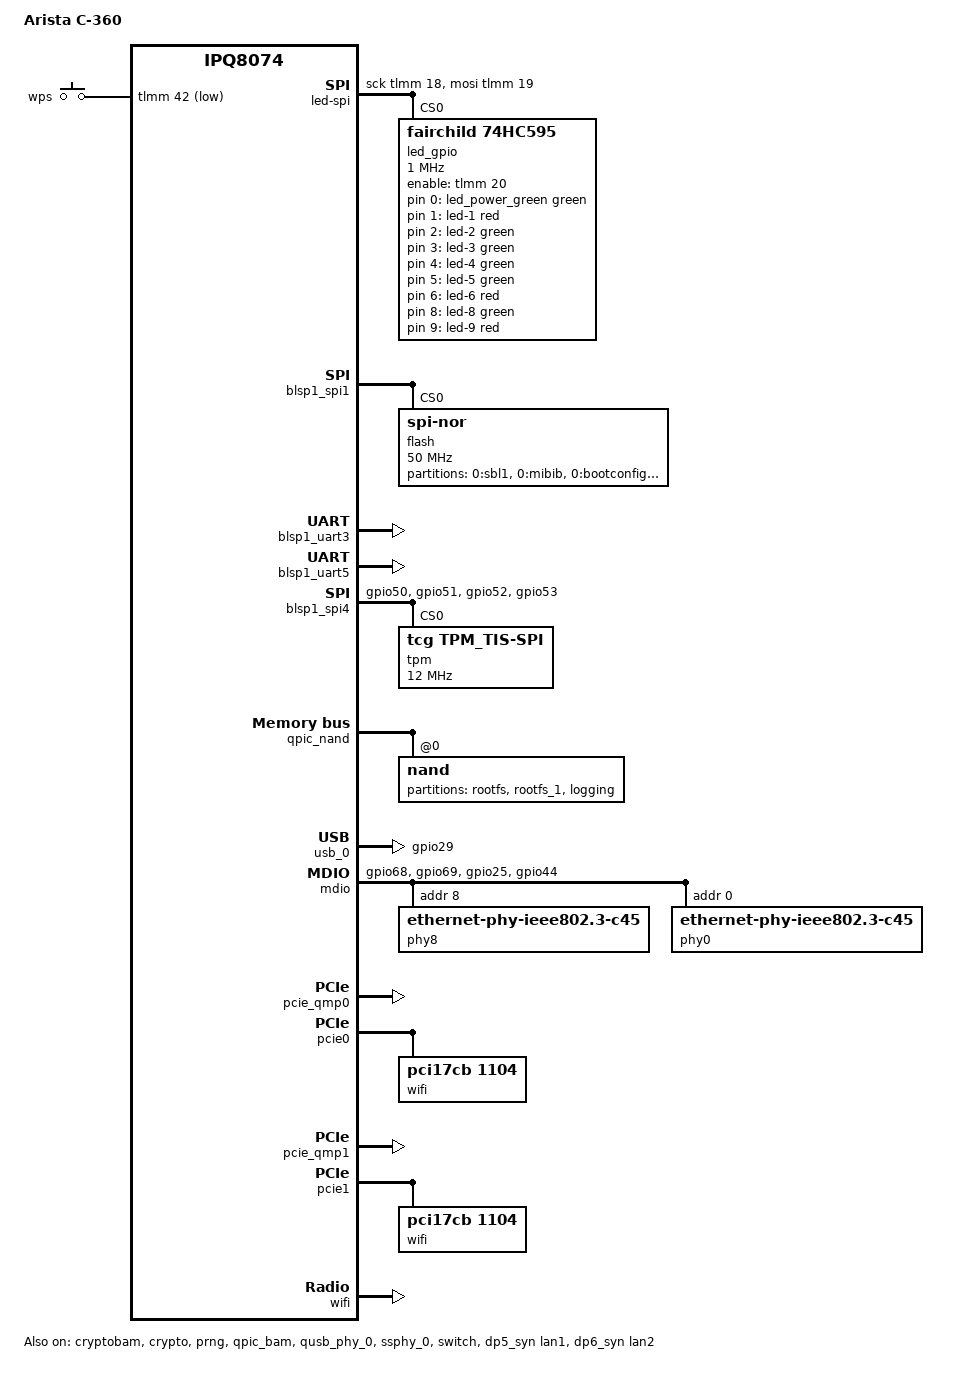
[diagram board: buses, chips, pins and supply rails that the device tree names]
// SPDX-License-Identifier: GPL-2.0-or-later OR MIT

/dts-v1/;

#include "ipq8074.dtsi"
#include "ipq8074-hk-cpu.dtsi"
#include "ipq8074-ess.dtsi"
#include <dt-bindings/gpio/gpio.h>
#include <dt-bindings/input/input.h>
#include <dt-bindings/leds/common.h>

/ {
	model = "Arista C-360";
	compatible = "arista,c-360", "qcom,ipq8074", "qcom,ipq8074-hk09";

	aliases {
		serial0 = &blsp1_uart5;
		serial1 = &blsp1_uart3;
		ethernet0 = &dp5_syn;
		ethernet1 = &dp6_syn;
		label-mac-device = &dp5_syn;
		led-boot = &led_power_green;
		led-failsafe = &led_power_green;
		led-running = &led_power_green;
		led-upgrade = &led_power_green;
	};

	chosen {
		stdout-path = "serial0:115200n8";
		bootargs-append = " root=/dev/ubiblock0_1";
	};

	keys {
		compatible = "gpio-keys";
		pinctrl-0 = <&button_pins>;
		pinctrl-names = "default";

		wps {
			label = "wps";
			gpios = <&tlmm 42 GPIO_ACTIVE_LOW>;
			linux,code = <KEY_WPS_BUTTON>;
			debounce-interval = <60>;
		};
	};

	led-spi {
		compatible = "spi-gpio";
		#address-cells = <1>;
		#size-cells = <0>;

		sck-gpios = <&tlmm 18 GPIO_ACTIVE_HIGH>;
		mosi-gpios = <&tlmm 19 GPIO_ACTIVE_HIGH>;

		led_gpio: led-gpio@0 {
			compatible = "fairchild,74hc595";
			reg = <0>;
			gpio-controller;
			#gpio-cells = <2>;
			registers-number = <2>;
			spi-max-frequency = <1000000>;
			enable-gpios = <&tlmm 20 GPIO_ACTIVE_HIGH>;
		};
	};

	/*
	 * The front panel LEDs hang off a 74LV164 shift register driven by the
	 * IPQ8074 LEDC pins, wired like the Arcadyan AW1000.  Two cascaded
	 * 8-bit registers give 16 outputs, of which nine reach an LED; the
	 * mapping was read off the panel one bit at a time.  Power, LAN1 and
	 * LAN2 are green/red pairs, the WiFi bands are green only, and outputs
	 * 7 and 10 to 15 drive nothing.
	 */
	leds {
		compatible = "gpio-leds";

		led_power_green: led-0 {
			color = <LED_COLOR_ID_GREEN>;
			function = LED_FUNCTION_POWER;
			gpios = <&led_gpio 0 GPIO_ACTIVE_HIGH>;
			default-state = "on";
		};

		led-1 {
			color = <LED_COLOR_ID_RED>;
			function = LED_FUNCTION_POWER;
			gpios = <&led_gpio 1 GPIO_ACTIVE_HIGH>;
		};

		led-2 {
			color = <LED_COLOR_ID_GREEN>;
			function = LED_FUNCTION_WLAN_2GHZ;
			gpios = <&led_gpio 2 GPIO_ACTIVE_HIGH>;
		};

		led-3 {
			color = <LED_COLOR_ID_GREEN>;
			function = LED_FUNCTION_WLAN_5GHZ;
			gpios = <&led_gpio 3 GPIO_ACTIVE_HIGH>;
		};

		led-4 {
			color = <LED_COLOR_ID_GREEN>;
			function = LED_FUNCTION_WLAN_6GHZ;
			gpios = <&led_gpio 4 GPIO_ACTIVE_HIGH>;
		};

		led-5 {
			color = <LED_COLOR_ID_GREEN>;
			function = LED_FUNCTION_LAN;
			function-enumerator = <1>;
			gpios = <&led_gpio 5 GPIO_ACTIVE_HIGH>;
		};

		led-6 {
			color = <LED_COLOR_ID_RED>;
			function = LED_FUNCTION_LAN;
			function-enumerator = <1>;
			gpios = <&led_gpio 6 GPIO_ACTIVE_HIGH>;
		};

		led-8 {
			color = <LED_COLOR_ID_GREEN>;
			function = LED_FUNCTION_LAN;
			function-enumerator = <2>;
			gpios = <&led_gpio 8 GPIO_ACTIVE_HIGH>;
		};

		led-9 {
			color = <LED_COLOR_ID_RED>;
			function = LED_FUNCTION_LAN;
			function-enumerator = <2>;
			gpios = <&led_gpio 9 GPIO_ACTIVE_HIGH>;
		};
	};
};

&tlmm {
	tpm_spi_pins: tpm-spi-state {
		pins = "gpio50", "gpio51", "gpio52", "gpio53";
		function = "blsp3_spi";
		drive-strength = <8>;
		bias-disable;
	};

	mdio_pins: mdio-pins {
		mdc {
			pins = "gpio68";
			function = "mdc";
			drive-strength = <8>;
			bias-pull-up;
		};

		mdio {
			pins = "gpio69";
			function = "mdio";
			drive-strength = <8>;
			bias-pull-up;
		};

		phy0-pins {
			pins = "gpio25";
			function = "gpio";
			drive-strength = <8>;
			bias-pull-up;
		};

		phy1-pins {
			pins = "gpio44";
			function = "gpio";
			drive-strength = <8>;
			bias-pull-up;
		};

	};

	button_pins: button-pins {
		wps-button {
			pins = "gpio42";
			function = "gpio";
			drive-strength = <8>;
			bias-pull-up;
		};
	};

	/*
	 * Enables the USB port's power rail. The vendor firmware drives this
	 * pin from its PoE handler, cutting USB when the PSE only grants
	 * 802.3at, which is what identifies it -- it was previously described
	 * here as a PHY supply.
	 */
	usb_power_pins: usb-power-pins {
		pins = "gpio29";
		function = "gpio";
		drive-strength = <8>;
		bias-pull-up;
		output-high;
	};
};

&blsp1_spi1 {
	status = "okay";

	flash@0 {
		#address-cells = <1>;
		#size-cells = <1>;
		reg = <0>;
		compatible = "jedec,spi-nor";
		spi-max-frequency = <50000000>;

		/*
		 * The SMEM partition table on this board describes both
		 * flashes: the 25 entries up to "reserved2" live on this
		 * SPI-NOR and only rootfs/rootfs_1/logging live on the NAND.
		 * One "qcom,smem-part" parser cannot express that.  Bound to
		 * the NAND it emitted the NOR entries scaled by the ratio of
		 * the erase sizes (256K/64K = 4) and laid them on top of
		 * rootfs, so "0:art" and "0:appsblenv" resolved to UBI data:
		 * the extracted caldata was garbage and a write to the U-Boot
		 * environment would have landed in the root filesystem.  Both
		 * flashes therefore carry a fixed layout instead.
		 */
		partitions {
			compatible = "fixed-partitions";
			#address-cells = <1>;
			#size-cells = <1>;

			partition@0 {
				label = "0:sbl1";
				reg = <0x000000 0x050000>;
				read-only;
			};

			partition@50000 {
				label = "0:mibib";
				reg = <0x050000 0x010000>;
				read-only;
			};

			partition@60000 {
				label = "0:bootconfig";
				reg = <0x060000 0x020000>;
				read-only;
			};

			partition@80000 {
				label = "0:bootconfig1";
				reg = <0x080000 0x020000>;
				read-only;
			};

			partition@a0000 {
				label = "0:qsee";
				reg = <0x0a0000 0x180000>;
				read-only;
			};

			partition@220000 {
				label = "0:qsee_1";
				reg = <0x220000 0x180000>;
				read-only;
			};

			partition@3a0000 {
				label = "0:devcfg";
				reg = <0x3a0000 0x010000>;
				read-only;
			};

			partition@3b0000 {
				label = "0:devcfg_1";
				reg = <0x3b0000 0x010000>;
				read-only;
			};

			partition@3c0000 {
				label = "0:apdp";
				reg = <0x3c0000 0x010000>;
				read-only;
			};

			partition@3d0000 {
				label = "0:apdp_1";
				reg = <0x3d0000 0x010000>;
				read-only;
			};

			partition@3e0000 {
				label = "0:rpm";
				reg = <0x3e0000 0x040000>;
				read-only;
			};

			partition@420000 {
				label = "0:rpm_1";
				reg = <0x420000 0x040000>;
				read-only;
			};

			partition@460000 {
				label = "0:cdt";
				reg = <0x460000 0x010000>;
				read-only;
			};

			partition@470000 {
				label = "0:cdt_1";
				reg = <0x470000 0x010000>;
				read-only;
			};

			partition@480000 {
				label = "0:appsblenv";
				reg = <0x480000 0x010000>;
			};

			partition@490000 {
				label = "0:appsbl";
				reg = <0x490000 0x100000>;
				read-only;
			};

			partition@590000 {
				label = "0:appsbl_1";
				reg = <0x590000 0x100000>;
				read-only;
			};

			partition@690000 {
				label = "0:art";
				reg = <0x690000 0x100000>;
				read-only;
			};

			partition@790000 {
				label = "0:ethphyfw";
				reg = <0x790000 0x080000>;
				read-only;
			};

			partition@810000 {
				label = "0:hlos";
				reg = <0x810000 0x800000>;
			};

			partition@1010000 {
				label = "0:hlos_1";
				reg = <0x1010000 0x800000>;
			};

			partition@1810000 {
				label = "config";
				reg = <0x1810000 0x400000>;
			};

			partition@1c10000 {
				label = "devcert";
				reg = <0x1c10000 0x020000>;
				read-only;
			};

			partition@1c30000 {
				label = "reserved1";
				reg = <0x1c30000 0x020000>;
			};

			partition@1c50000 {
				label = "reserved2";
				reg = <0x1c50000 0x3b0000>;
			};
		};
	};
};

/*
 * A Nordic nRF5 running a Zephyr BLE controller hangs off this UART and
 * speaks plain H4 HCI at 115200 baud with no flow control. hsuart_pins
 * comes from the SoC dtsi and needs no override here.
 */
&blsp1_uart3 {
	status = "okay";
};

&blsp1_uart5 {
	status = "okay";
};

&cryptobam {
	status = "okay";
};

&crypto {
	status = "okay";
};

&prng {
	status = "okay";
};

/* Infineon SLB 9670 TPM 2.0 */
&blsp1_spi4 {
	pinctrl-0 = <&tpm_spi_pins>;
	pinctrl-names = "default";
	status = "okay";

	tpm@0 {
		compatible = "tcg,tpm_tis-spi";
		reg = <0>;
		spi-max-frequency = <12000000>;
	};
};

&qpic_bam {
	status = "okay";
};

&qpic_nand {
	status = "okay";
	compatible = "qcom,ebi2-nandc-bam-v1.5.0", "qcom,ipq8074-nand";

	nand@0 {
		reg = <0>;
		nand-ecc-strength = <8>;
		nand-ecc-step-size = <512>;
		nand-bus-width = <8>;

		partitions {
			compatible = "fixed-partitions";
			#address-cells = <1>;
			#size-cells = <1>;

			partition@0 {
				label = "rootfs";
				reg = <0x00000000 0x18000000>;
			};

			partition@18000000 {
				label = "rootfs_1";
				reg = <0x18000000 0x18000000>;
			};

			partition@30000000 {
				label = "logging";
				reg = <0x30000000 0x10000000>;
			};
		};
	};
};

&qusb_phy_0 {
	status = "okay";
};

&ssphy_0 {
	status = "okay";
};

&usb_0 {
	status = "okay";

	pinctrl-0 = <&usb_power_pins>;
	pinctrl-names = "default";
};

&mdio {
	status = "okay";

	pinctrl-0 = <&mdio_pins>;
	pinctrl-names = "default";

	phy8: ethernet-phy@8 {
		compatible = "ethernet-phy-ieee802.3-c45";
		reg = <8>;
	};

	phy0: ethernet-phy@0 {
		compatible = "ethernet-phy-ieee802.3-c45";
		reg = <0>;
	};
};

&switch {
	status = "okay";

	switch_lan_bmp = <ESS_PORT5>;
	switch_wan_bmp = <ESS_PORT6>;
	switch_mac_mode1 = <MAC_MODE_USXGMII>;
	switch_mac_mode2 = <MAC_MODE_USXGMII>;
	aquantia_port = <4>;
	aquantia_port2 = <5>;

	qcom,port_phyinfo {
		port@4 {
			port_id = <5>;
			phy_address = <8>;
			phy_type = <3>;
			ethernet-phy-ieee802.3-c45;
			port_mac_sel = "QGMAC_PORT";
		};

		port@5 {
			port_id = <6>;
			phy_address = <0>;
			phy_type = <3>;
			ethernet-phy-ieee802.3-c45;
			port_mac_sel = "QGMAC_PORT";
		};
	};
};

&edma {
	status = "okay";
};

&dp5_syn {
	status = "okay";
	qcom,mactype = <1>;
	phy-mode = "usxgmii";
	phy-handle = <&phy8>;
	label = "lan1";
};

&dp6_syn {
	status = "okay";
	phy-mode = "usxgmii";
	phy-handle = <&phy0>;
	label = "lan2";
};

&pcie_qmp0 {
	status = "okay";
};

&pcie0 {
	status = "okay";

	perst-gpios = <&tlmm 58 GPIO_ACTIVE_LOW>;

	pcie@0 {
		wifi@0,0 {
			status = "okay";

			compatible = "pci17cb,1104";
			reg = <0x00010000 0 0 0 0>;

			/* 0000:01:00.0 - vendor board_id 0xab (bdwlan.bab, 6 GHz) */
			qcom,calibration-variant = "Arista-C360-pcie0";
		};
	};
};

&pcie_qmp1 {
	status = "okay";
};

&pcie1 {
	status = "okay";

	perst-gpios = <&tlmm 61 GPIO_ACTIVE_LOW>;

	pcie@0 {
		wifi@0,0 {
			status = "okay";

			compatible = "pci17cb,1104";
			reg = <0x00010000 0 0 0 0>;

			/* 0001:01:00.0 - vendor board_id 0xaa (bdwlan.baa) */
			qcom,calibration-variant = "Arista-C360-pcie1";
		};
	};
};

&wifi {
	status = "okay";

	qcom,calibration-variant = "Arista-C360";
};
